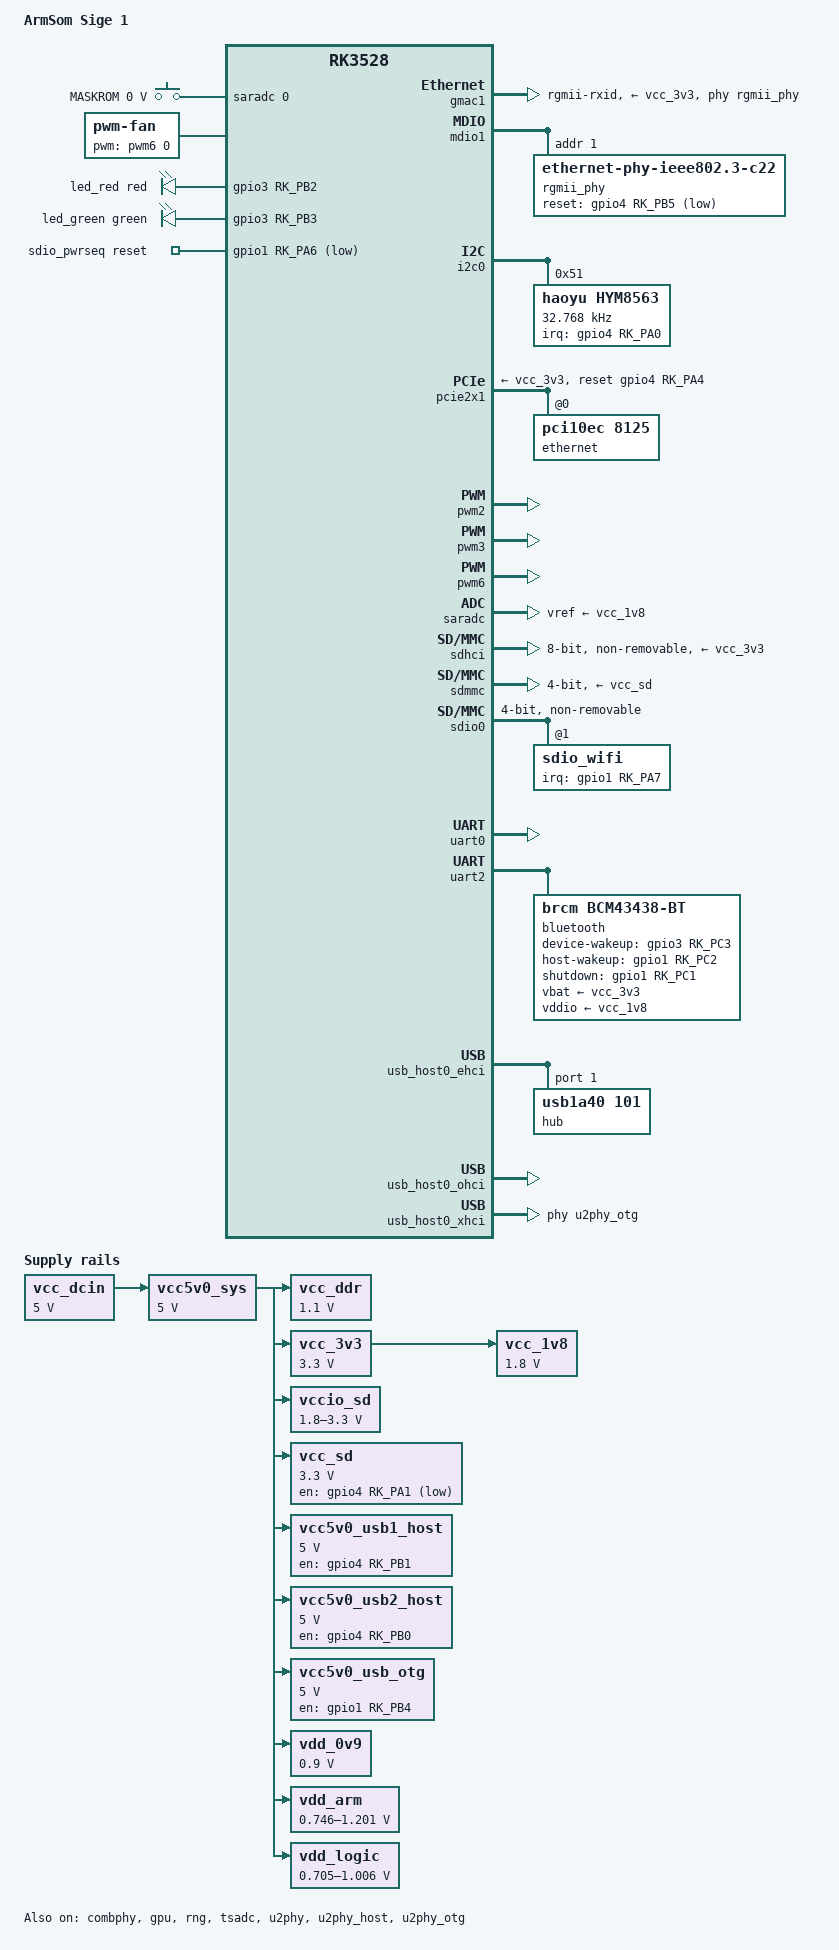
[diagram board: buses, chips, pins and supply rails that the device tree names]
// SPDX-License-Identifier: GPL-2.0+
/dts-v1/;

#include <dt-bindings/input/input.h>
#include <dt-bindings/leds/common.h>
#include <dt-bindings/pwm/pwm.h>
#include "rk3528.dtsi"

/ {
	model = "ArmSom Sige 1";
	compatible = "armsom,sige1", "rockchip,rk3528";

	aliases {
		ethernet0 = &gmac1;
		mmc0 = &sdhci;
		mmc1 = &sdmmc;
	};

	chosen {
		stdout-path = "serial0:1500000n8";
	};

	adc-keys {
		compatible = "adc-keys";
		io-channels = <&saradc 0>;
		io-channel-names = "buttons";
		keyup-threshold-microvolt = <1800000>;
		poll-interval = <100>;

		button-maskrom {
			label = "MASKROM";
			linux,code = <KEY_SETUP>;
			press-threshold-microvolt = <0>;
		};
	};

	fan: pwm-fan {
		compatible = "pwm-fan";
		#cooling-cells = <2>;
		pwms = <&pwm6 0 50000 0>;
		cooling-levels = <0 50 100 150 200 255>;
		rockchip,temp-trips = <
			50000	1
			55000	2
			60000	3
			65000	4
			70000	5
		>;
	};

	firmware {
		optee {
			compatible = "linaro,optee-tz";
			method = "smc";
		};
	};

	leds {
		compatible = "gpio-leds";

		led_red: led-red {
			color = <LED_COLOR_ID_RED>;
			function = LED_FUNCTION_STATUS;
			gpios = <&gpio3 RK_PB2 GPIO_ACTIVE_HIGH>;
			linux,default-trigger = "none";
		};

		led_green: led-green {
			color = <LED_COLOR_ID_GREEN>;
			function = LED_FUNCTION_STATUS;
			gpios = <&gpio3 RK_PB3 GPIO_ACTIVE_HIGH>;
			linux,default-trigger = "heartbeat";
		};
	};

	reserved-memory {
		#address-cells = <2>;
		#size-cells = <2>;
		ranges;

		ramoops: ramoops@110000 {
			compatible = "ramoops";
			reg = <0x0 0x110000 0x0 0xe0000>;
			console-size = <0x80000>;
			pmsg-size = <0x30000>;
			ftrace-size = <0x00000>;
			record-size = <0x14000>;
		};
	};

	sdio_pwrseq: sdio-pwrseq {
		compatible = "mmc-pwrseq-simple";
		pinctrl-names = "default";
		pinctrl-0 = <&wifi_enable_h &clkm1_32k_out>;
		reset-gpios = <&gpio1 RK_PA6 GPIO_ACTIVE_LOW>;
	};

	vcc_dcin: vcc-dcin {
		compatible = "regulator-fixed";
		regulator-name = "vcc_dcin";
		regulator-always-on;
		regulator-boot-on;
		regulator-min-microvolt = <5000000>;
		regulator-max-microvolt = <5000000>;
	};

	vcc_ddr: regulator-1v1-vcc-ddr {
		compatible = "regulator-fixed";
		regulator-name = "vcc_ddr";
		regulator-always-on;
		regulator-boot-on;
		regulator-min-microvolt = <1100000>;
		regulator-max-microvolt = <1100000>;
		vin-supply = <&vcc5v0_sys>;
	};

	vcc_1v8: regulator-1v8-vcc {
		compatible = "regulator-fixed";
		regulator-name = "vcc_1v8";
		regulator-always-on;
		regulator-boot-on;
		regulator-min-microvolt = <1800000>;
		regulator-max-microvolt = <1800000>;
		vin-supply = <&vcc_3v3>;
	};

	vcc_3v3: regulator-3v3-vcc {
		compatible = "regulator-fixed";
		regulator-name = "vcc_3v3";
		regulator-always-on;
		regulator-boot-on;
		regulator-min-microvolt = <3300000>;
		regulator-max-microvolt = <3300000>;
		vin-supply = <&vcc5v0_sys>;
	};

	vcc5v0_sys: regulator-5v0-vcc-sys {
		compatible = "regulator-fixed";
		regulator-name = "vcc5v0_sys";
		regulator-always-on;
		regulator-boot-on;
		regulator-min-microvolt = <5000000>;
		regulator-max-microvolt = <5000000>;
		vin-supply = <&vcc_dcin>;
	};

	vccio_sd: regulator-vccio-sd {
		compatible = "regulator-gpio";
		gpios = <&gpio4 RK_PC2 GPIO_ACTIVE_LOW>;
		pinctrl-names = "default";
		pinctrl-0 = <&sdmmc_vol_ctrl_h>;
		regulator-name = "vccio_sd";
		regulator-min-microvolt = <1800000>;
		regulator-max-microvolt = <3300000>;
		states = <1800000 0x0>, <3300000 0x1>;
		vin-supply = <&vcc5v0_sys>;
	};

	vcc_sd: regulator-vcc-sd {
		compatible = "regulator-fixed";
		gpios = <&gpio4 RK_PA1 GPIO_ACTIVE_LOW>;
		pinctrl-names = "default";
		pinctrl-0 = <&sdmmc_pwren_l>;
		regulator-name = "vcc_sd";
		regulator-min-microvolt = <3300000>;
		regulator-max-microvolt = <3300000>;
		vin-supply = <&vcc5v0_sys>;
	};

	vcc5v0_usb1_host: vcc5v0-usb1-host {
		compatible = "regulator-fixed";
		regulator-name = "vcc5v0_usb1_host";
		regulator-boot-on;
		regulator-always-on;
		regulator-min-microvolt = <5000000>;
		regulator-max-microvolt = <5000000>;
		enable-active-high;
		gpio = <&gpio4 RK_PB1 GPIO_ACTIVE_HIGH>;
		vin-supply = <&vcc5v0_sys>;
		pinctrl-names = "default";
		pinctrl-0 = <&usb20_host1_drv_h>;
	};

	vcc5v0_usb2_host: vcc5v0-usb2-host {
		compatible = "regulator-fixed";
		regulator-name = "vcc5v0_usb2_host";
		regulator-boot-on;
		regulator-always-on;
		regulator-min-microvolt = <5000000>;
		regulator-max-microvolt = <5000000>;
		enable-active-high;
		gpio = <&gpio4 RK_PB0 GPIO_ACTIVE_HIGH>;
		vin-supply = <&vcc5v0_sys>;
		pinctrl-names = "default";
		pinctrl-0 = <&usb20_host2_drv_h>;
	};

	vcc5v0_usb_otg: vcc5v0-usb-otg {
		compatible = "regulator-fixed";
		regulator-name = "vcc5v0_usb_otg";
		regulator-boot-on;
		regulator-always-on;
		regulator-min-microvolt = <5000000>;
		regulator-max-microvolt = <5000000>;
		enable-active-high;
		gpio = <&gpio1 RK_PB4 GPIO_ACTIVE_HIGH>;
		vin-supply = <&vcc5v0_sys>;
		pinctrl-names = "default";
		pinctrl-0 = <&usb20_otg0_drv_h>;
	};

	vdd_0v9: regulator-0v9-vdd {
		compatible = "regulator-fixed";
		regulator-name = "vdd_0v9";
		regulator-always-on;
		regulator-boot-on;
		regulator-min-microvolt = <900000>;
		regulator-max-microvolt = <900000>;
		vin-supply = <&vcc5v0_sys>;
	};

	vdd_arm: regulator-vdd-arm {
		compatible = "pwm-regulator";
		pwms = <&pwm3 0 5000 PWM_POLARITY_INVERTED>;
		pwm-supply = <&vcc5v0_sys>;
		regulator-name = "vdd_arm";
		regulator-always-on;
		regulator-boot-on;
		regulator-min-microvolt = <746000>;
		regulator-max-microvolt = <1201000>;
		regulator-settling-time-up-us = <250>;
	};

	vdd_logic: regulator-vdd-logic {
		compatible = "pwm-regulator";
		pwms = <&pwm2 0 5000 PWM_POLARITY_INVERTED>;
		pwm-supply = <&vcc5v0_sys>;
		regulator-name = "vdd_logic";
		regulator-always-on;
		regulator-boot-on;
		regulator-min-microvolt = <705000>;
		regulator-max-microvolt = <1006000>;
		regulator-settling-time-up-us = <250>;
	};
};

&combphy {
	status = "okay";
};

&cpu0 {
	cpu-supply = <&vdd_arm>;
};

&cpu1 {
	cpu-supply = <&vdd_arm>;
};

&cpu2 {
	cpu-supply = <&vdd_arm>;
};

&cpu3 {
	cpu-supply = <&vdd_arm>;
};

&gmac1 {
	clock_in_out = "output";
	phy-handle = <&rgmii_phy>;
	phy-mode = "rgmii-rxid";
	phy-supply = <&vcc_3v3>;
	pinctrl-names = "default";
	pinctrl-0 = <&rgmii_miim>, <&rgmii_tx_bus2>, <&rgmii_rx_bus2>,
		    <&rgmii_rgmii_clk>, <&rgmii_rgmii_bus>;
	rx_delay = <0>;
	tx_delay = <0x30>;
	status = "okay";
};

&mdio1 {
	rgmii_phy: ethernet-phy@1 {
		compatible = "ethernet-phy-ieee802.3-c22";
		reg = <0x1>;
		pinctrl-names = "default";
		pinctrl-0 = <&gmac1_rstn_l>;
		reset-assert-us = <20000>;
		reset-deassert-us = <100000>;
		reset-gpios = <&gpio4 RK_PB5 GPIO_ACTIVE_LOW>;
	};
};

&gpu {
	mali-supply = <&vdd_logic>;
	status = "okay";
};

&i2c0 {
	pinctrl-names = "default";
	pinctrl-0 = <&i2c0m0_xfer>;
	status = "okay";

	hym8563: hym8563@51 {
		compatible = "haoyu,hym8563";
		reg = <0x51>;
		#clock-cells = <0>;
		clock-frequency = <32768>;
		clock-output-names = "hym8563";
		pinctrl-names = "default";
		pinctrl-0 = <&hym8563_int>;
		interrupt-parent = <&gpio4>;
		interrupts = <RK_PA0 IRQ_TYPE_LEVEL_LOW>;
	};
};

&pcie2x1 {
	reset-gpios = <&gpio4 RK_PA4 GPIO_ACTIVE_HIGH>;
	vpcie3v3-supply = <&vcc_3v3>;
	status = "okay";

	bridge@0,0 {
		reg = <0x00000000 0 0 0 0>;
		#address-cells = <3>;
		#size-cells = <2>;
		ranges;

		ethernet@0,0 {
			compatible = "pci10ec,8125";
			reg = <0x000000 0 0 0 0>;
			led-data = <0x23f 0x3f 0 0>;
		};
	};
};

&pinctrl {
	bluetooth {
		bt_reg_on_h: bt-reg-on-h {
			rockchip,pins = <1 RK_PC1 RK_FUNC_GPIO &pcfg_pull_down>;
		};

		bt_host_wake_h: bt-host-wake-h {
			rockchip,pins = <1 RK_PC2 RK_FUNC_GPIO &pcfg_pull_down>;
		};

		host_wake_bt_h: host-wake-bt-h {
			rockchip,pins = <3 RK_PC3 RK_FUNC_GPIO &pcfg_pull_none>;
		};
	};

	ethernet {
		gmac1_rstn_l: gmac1-rstn-l {
			rockchip,pins = <4 RK_PB5 RK_FUNC_GPIO &pcfg_pull_none>;
		};
	};

	wifi {
		wifi_enable_h: wifi-enable-h {
			rockchip,pins = <1 RK_PA6 RK_FUNC_GPIO &pcfg_pull_none>;
		};

		wifi_wake_host_h: wifi-wake-host-h {
			rockchip,pins = <1 RK_PA7 RK_FUNC_GPIO &pcfg_pull_down>;
		};
	};

	rtc {
		hym8563_int: hym8563-int {
			rockchip,pins = <4 RK_PA0 RK_FUNC_GPIO &pcfg_pull_none>;
		};
	};

	usb {
		usb20_host1_drv_h: usb20-host1-drv-h {
			rockchip,pins = <4 RK_PB1 RK_FUNC_GPIO &pcfg_pull_none>;
		};

		usb20_host2_drv_h: usb20-host2-drv-h {
			rockchip,pins = <4 RK_PB0 RK_FUNC_GPIO &pcfg_pull_none>;
		};

		usb20_otg0_drv_h: usb20-otg0-drv-h {
			rockchip,pins = <1 RK_PB4 RK_FUNC_GPIO &pcfg_pull_none>;
		};
	};

	leds {
		led_rgb_r: led-red-en {
			rockchip,pins = <3 RK_PB2 RK_FUNC_GPIO &pcfg_pull_none>;
		};
		led_rgb_g: led-green-en {
			rockchip,pins = <3 RK_PB3 RK_FUNC_GPIO &pcfg_pull_none>;
		};
	};

	sdmmc {
		sdmmc_vol_ctrl_h: sdmmc-vol-ctrl-h {
			rockchip,pins = <4 RK_PC2 RK_FUNC_GPIO &pcfg_pull_none>;
		};

		sdmmc_pwren_l: sdmmc-pwren-l {
			rockchip,pins = <4 RK_PA1 RK_FUNC_GPIO &pcfg_pull_none>;
		};
	};
};

&pwm2 {
	pinctrl-names = "default";
	pinctrl-0 = <&pwm2m0_pins>;
	status = "okay";
};

&pwm3 {
	pinctrl-names = "default";
	pinctrl-0 = <&pwm3m0_pins>;
	status = "okay";
};

&pwm6 {
	pinctrl-names = "default";
	pinctrl-0 = <&pwm6m0_pins>;
	status = "okay";
};

&rng {
	status = "okay";
};

&saradc {
	vref-supply = <&vcc_1v8>;
	status = "okay";
};

&sdhci {
	bus-width = <8>;
	no-sd;
	no-sdio;
	non-removable;
	mmc-hs200-1_8v;
	max-frequency = <200000000>;
	vmmc-supply = <&vcc_3v3>;
	vqmmc-supply = <&vcc_1v8>;
	status = "okay";
};

&sdmmc {
	bus-width = <4>;
	cap-mmc-highspeed;
	cap-sd-highspeed;
	disable-wp;
	sd-uhs-sdr12;
	sd-uhs-sdr25;
	sd-uhs-sdr50;
	sd-uhs-sdr104;
	vmmc-supply = <&vcc_sd>;
	vqmmc-supply = <&vccio_sd>;
	status = "okay";
};

&sdio0 {
	#address-cells = <1>;
	#size-cells = <0>;
	bus-width = <4>;
	cap-sd-highspeed;
	cap-sdio-irq;
	keep-power-in-suspend;
	max-frequency = <200000000>;
	mmc-pwrseq = <&sdio_pwrseq>;
	pinctrl-names = "default";
	pinctrl-0 = <&sdio0_bus4 &sdio0_cmd &sdio0_clk>;
	post-power-on-delay-ms = <50>;
	non-removable;
	status = "okay";

	sdio_wifi@1 {
		reg = <1>;
		interrupt-parent = <&gpio1>;
		interrupts = <RK_PA7 IRQ_TYPE_LEVEL_HIGH>;
		interrupt-names = "host-wake";
		pinctrl-names = "default";
		pinctrl-0 = <&wifi_wake_host_h>;
	};
};

&tsadc {
	rockchip,hw-tshut-mode = <1>;
	rockchip,hw-tshut-polarity = <1>;
	status = "okay";
};

&uart0 {
	pinctrl-names = "default";
	pinctrl-0 = <&uart0m0_xfer>;
	status = "okay";
};

&uart2 {
	dma-names = "tx", "rx";
	pinctrl-names = "default";
	pinctrl-0 = <&uart2m1_xfer &uart2m1_ctsn &uart2m1_rtsn>;
	uart-has-rtscts;
	status = "okay";

	bluetooth {
		compatible = "brcm,bcm43438-bt";
		device-wakeup-gpios = <&gpio3 RK_PC3 GPIO_ACTIVE_HIGH>;
		host-wakeup-gpios = <&gpio1 RK_PC2 GPIO_ACTIVE_HIGH>;
		shutdown-gpios = <&gpio1 RK_PC1 GPIO_ACTIVE_HIGH>;
		pinctrl-names = "default";
		pinctrl-0 = <&bt_reg_on_h &bt_host_wake_h &host_wake_bt_h>;
		vbat-supply = <&vcc_3v3>;
		vddio-supply = <&vcc_1v8>;
	};
};

&u2phy {
	status = "okay";
};

&u2phy_host {
	status = "okay";
};

&u2phy_otg {
	phy-supply = <&vcc5v0_usb_otg>;
	status = "okay";
};

&usb_host0_ehci {
	#address-cells = <1>;
	#size-cells = <0>;
	status = "okay";

	hub@1 {
		compatible = "usb1a40,101";
		reg = <1>;
		#address-cells = <1>;
		#size-cells = <0>;

		port@1 {
			reg = <1>;
			#trigger-source-cells = <0>;
			vdd-supply = <&vcc5v0_usb1_host>;
		};

		port@2 {
			reg = <2>;
			#trigger-source-cells = <0>;
			vdd-supply = <&vcc5v0_usb2_host>;
		};
	};
};

&usb_host0_ohci {
	status = "okay";
};

&usb_host0_xhci {
	extcon = <&u2phy>;
	phys = <&u2phy_otg>;
	phy-names = "usb2-phy";
	maximum-speed = "high-speed";
	snps,dis_u2_susphy_quirk;
	snps,usb2-lpm-disable;
	status = "okay";
};
